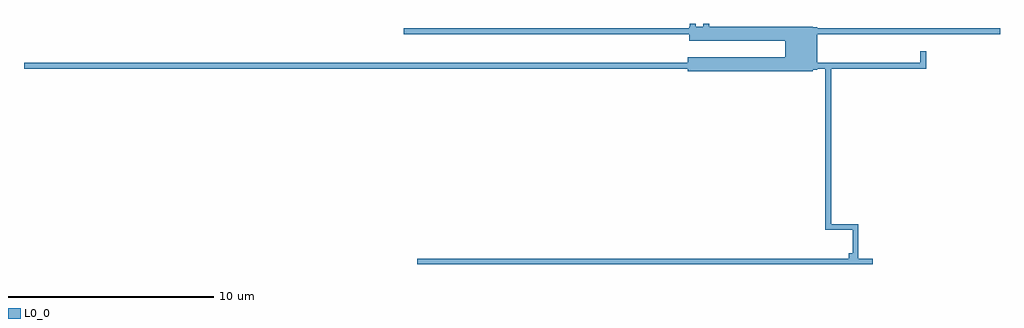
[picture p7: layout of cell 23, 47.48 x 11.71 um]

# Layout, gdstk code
import gdstk
lib = gdstk.Library(unit=1e-6, precision=1e-09)
def P(c, l, *ps):  # polygons
    for p in ps: c.add(gdstk.Polygon(p, *l))
L0_0 = (0, 0)

c_23 = lib.new_cell('23')
P(c_23, L0_0, [(984.86,919.38),(985.24,919.38),(985.24,919.1),(984.86,919.1),(984.86,919.38)],
  [(990.99,917.675),(991.765,917.675),(991.765,917.445),(990.99,917.445),(990.99,917.675)],
  [(991.46,917.7),(991.84,917.7),(991.84,917.42),(991.46,917.42),(991.46,917.7)],
  [(984.8,917.97),(989.48,917.97),(989.48,917.98),(989.555,917.98),(989.555,918.78),(984.88,918.78),(984.88,919.46),(990.9,919.46),(990.9,919.44),(991.105,919.44),(991.105,917.36),(990.9,917.36),(990.9,917.29),(984.8,917.29),(984.8,917.97)],
  [(992.635,908.44),(992.865,908.44),(992.865,908.18),(993.155,908.18),(993.155,907.9),(992.635,907.9),(992.635,908.44)],
  [(992.78,908.18),(993.16,908.18),(993.16,907.9),(992.78,907.9),(992.78,908.18)],
  [(984.86,919.38),(985.24,919.38),(985.24,919.1),(984.86,919.1),(984.86,919.38)],
  [(984.8,917.97),(989.48,917.97),(989.48,917.98),(989.555,917.98),(989.555,918.78),(984.88,918.78),(984.88,919.46),(990.9,919.46),(990.9,919.44),(991.105,919.44),(991.105,917.36),(990.9,917.36),(990.9,917.29),(984.8,917.29),(984.8,917.97)],
  [(991.51,909.58),(991.51,917.7),(991.79,917.7),(991.79,909.58),(991.51,909.58)],
  [(992.78,908.18),(993.16,908.18),(993.16,907.9),(992.78,907.9),(992.78,908.18)],
  [(991.46,917.7),(991.84,917.7),(991.84,917.42),(991.46,917.42),(991.46,917.7)],
  [(992.83,907.9),(992.83,909.86),(993.11,909.86),(993.11,907.9),(992.83,907.9)],
  [(991.51,909.86),(993.11,909.86),(993.11,909.58),(991.51,909.58),(991.51,909.86)],
  [(991.51,909.58),(991.51,917.7),(991.79,917.7),(991.79,909.58),(991.51,909.58)],
  [(991.51,909.86),(993.11,909.86),(993.11,909.58),(991.51,909.58),(991.51,909.86)],
  [(991.51,909.58),(991.51,917.7),(991.79,917.7),(991.79,909.58),(991.51,909.58)],
  [(991.46,917.7),(991.84,917.7),(991.84,917.42),(991.46,917.42),(991.46,917.7)],
  [(984.86,919.38),(985.24,919.38),(985.24,919.1),(984.86,919.1),(984.86,919.38)],
  [(984.91,919.61),(985.19,919.61),(985.19,918.87),(984.91,918.87),(984.91,919.61)],
  [(985.52,919.38),(985.9,919.38),(985.9,919.1),(985.52,919.1),(985.52,919.38)],
  [(1000,919.1),(985.57,919.1),(985.57,919.38),(1000,919.38),(1000,919.1)],
  [(952.52,917.7),(952.9,917.7),(952.9,917.42),(952.52,917.42),(952.52,917.7)],
  [(963.08,917.7),(963.46,917.7),(963.46,917.42),(963.08,917.42),(963.08,917.7)],
  [(957.8,917.7),(958.18,917.7),(958.18,917.42),(957.8,917.42),(957.8,917.7)],
  [(957.85,917.7),(963.41,917.7),(963.41,917.42),(957.85,917.42),(957.85,917.7)],
  [(952.57,917.7),(958.13,917.7),(958.13,917.42),(952.57,917.42),(952.57,917.7)],
  [(967.7,917.7),(968.08,917.7),(968.08,917.42),(967.7,917.42),(967.7,917.7)],
  [(996.13,917.42),(996.13,918.26),(996.41,918.26),(996.41,917.42),(996.13,917.42)],
  [(967.75,917.7),(996.41,917.7),(996.41,917.42),(967.75,917.42),(967.75,917.7)],
  [(963.13,917.7),(968.03,917.7),(968.03,917.42),(963.13,917.42),(963.13,917.7)],
  [(963.08,917.7),(963.46,917.7),(963.46,917.42),(963.08,917.42),(963.08,917.7)],
  [(967.7,917.7),(968.08,917.7),(968.08,917.42),(967.7,917.42),(967.7,917.7)],
  [(996.13,917.42),(996.13,918.26),(996.41,918.26),(996.41,917.42),(996.13,917.42)],
  [(967.75,917.7),(996.41,917.7),(996.41,917.42),(967.75,917.42),(967.75,917.7)],
  [(963.13,917.7),(968.03,917.7),(968.03,917.42),(963.13,917.42),(963.13,917.7)],
  [(963.08,917.7),(963.46,917.7),(963.46,917.42),(963.08,917.42),(963.08,917.7)],
  [(967.75,917.7),(996.41,917.7),(996.41,917.42),(967.75,917.42),(967.75,917.7)],
  [(963.13,917.7),(968.03,917.7),(968.03,917.42),(963.13,917.42),(963.13,917.7)],
  [(967.7,917.7),(968.08,917.7),(968.08,917.42),(967.7,917.42),(967.7,917.7)],
  [(971.66,908.18),(972.04,908.18),(972.04,907.9),(971.66,907.9),(971.66,908.18)],
  [(977.6,908.18),(977.98,908.18),(977.98,907.9),(977.6,907.9),(977.6,908.18)],
  [(986.84,908.18),(987.22,908.18),(987.22,907.9),(986.84,907.9),(986.84,908.18)],
  [(993.44,908.18),(993.82,908.18),(993.82,907.9),(993.44,907.9),(993.44,908.18)],
  [(971.71,908.18),(977.93,908.18),(977.93,907.9),(971.71,907.9),(971.71,908.18)],
  [(977.65,908.18),(987.17,908.18),(987.17,907.9),(977.65,907.9),(977.65,908.18)],
  [(986.89,908.18),(993.77,908.18),(993.77,907.9),(986.89,907.9),(986.89,908.18)],
  [(977.6,908.18),(977.98,908.18),(977.98,907.9),(977.6,907.9),(977.6,908.18)],
  [(986.84,908.18),(987.22,908.18),(987.22,907.9),(986.84,907.9),(986.84,908.18)],
  [(993.44,908.18),(993.82,908.18),(993.82,907.9),(993.44,907.9),(993.44,908.18)],
  [(977.65,908.18),(987.17,908.18),(987.17,907.9),(977.65,907.9),(977.65,908.18)],
  [(986.89,908.18),(993.77,908.18),(993.77,907.9),(986.89,907.9),(986.89,908.18)],
  [(993.44,908.18),(993.82,908.18),(993.82,907.9),(993.44,907.9),(993.44,908.18)],
  [(986.89,908.18),(993.77,908.18),(993.77,907.9),(986.89,907.9),(986.89,908.18)],
  [(986.84,908.18),(987.22,908.18),(987.22,907.9),(986.84,907.9),(986.84,908.18)],
  [(984.86,919.38),(985.24,919.38),(985.24,919.1),(984.86,919.1),(984.86,919.38)],
  [(971.66,919.38),(972.04,919.38),(972.04,919.1),(971.66,919.1),(971.66,919.38)],
  [(982.22,919.38),(982.6,919.38),(982.6,919.1),(982.22,919.1),(982.22,919.38)],
  [(971.71,919.38),(982.55,919.38),(982.55,919.1),(971.71,919.1),(971.71,919.38)],
  [(982.27,919.38),(985.19,919.38),(985.19,919.1),(982.27,919.1),(982.27,919.38)],
  [(984.86,919.38),(985.24,919.38),(985.24,919.1),(984.86,919.1),(984.86,919.38)],
  [(982.22,919.38),(982.6,919.38),(982.6,919.1),(982.22,919.1),(982.22,919.38)],
  [(982.27,919.38),(985.19,919.38),(985.19,919.1),(982.27,919.1),(982.27,919.38)],
  [(985.52,919.38),(985.9,919.38),(985.9,919.1),(985.52,919.1),(985.52,919.38)],
  [(985.57,919.61),(985.85,919.61),(985.85,918.87),(985.57,918.87),(985.57,919.61)],
  [(985.52,919.38),(985.9,919.38),(985.9,919.1),(985.52,919.1),(985.52,919.38)],
  [(971.05,919.38),(985.85,919.38),(985.85,919.1),(971.05,919.1),(971.05,919.38)],
  [(971,919.38),(971.38,919.38),(971.38,919.1),(971,919.1),(971,919.38)])

lib.write_gds('23.gds')
